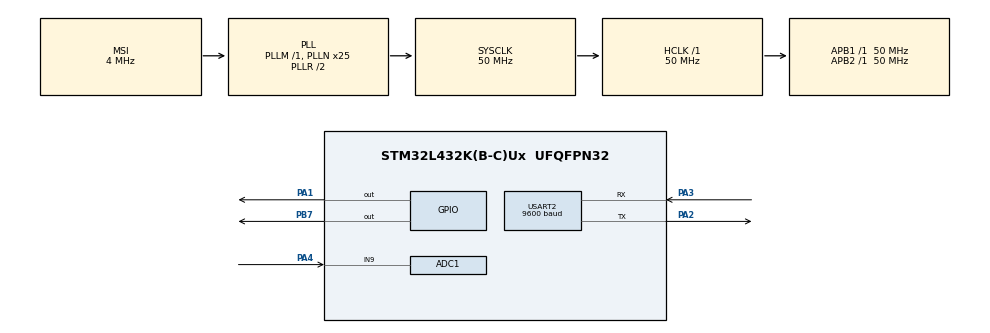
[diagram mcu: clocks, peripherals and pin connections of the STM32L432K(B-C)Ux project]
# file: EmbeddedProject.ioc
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ADC1.Channel-1\#ChannelRegularConversion=ADC_CHANNEL_9
ADC1.NbrOfConversionFlag=1
ADC1.OffsetNumber-1\#ChannelRegularConversion=ADC_OFFSET_NONE
ADC1.Rank-1\#ChannelRegularConversion=1
ADC1.SamplingTime-1\#ChannelRegularConversion=ADC_SAMPLETIME_2CYCLES_5
ADC1.master=1
Mcu.Family=STM32L4
Mcu.Name=STM32L432K(B-C)Ux
Mcu.Package=UFQFPN32
NVIC.ADC1_IRQn=true\:0\:0\:false\:false\:true\:true\:true
NVIC.PriorityGroup=NVIC_PRIORITYGROUP_4
NVIC.USART2_IRQn=true\:0\:0\:false\:false\:true\:true\:true
PA0.Mode=HSE-External-Clock-Source-for-LittleOrca
PA0.Signal=RCC_CK_IN
PA1.Signal=GPIO_Output
PA13\ (JTMS-SWDIO).Mode=Serial_Wire
PA13\ (JTMS-SWDIO).Signal=SYS_JTMS-SWDIO
PA14\ (JTCK-SWCLK).Mode=Serial_Wire
PA14\ (JTCK-SWCLK).Signal=SYS_JTCK-SWCLK
PA2.Mode=Asynchronous
PA2.Signal=USART2_TX
PA3.Mode=Asynchronous
PA3.Signal=USART2_RX
PA4.Signal=ADCx_IN9
PB7.Signal=GPIO_Output
PC14-OSC32_IN\ (PC14).Mode=LSE-External-Oscillator
PC14-OSC32_IN\ (PC14).Signal=RCC_OSC32_IN
PC15-OSC32_OUT\ (PC15).Mode=LSE-External-Oscillator
PC15-OSC32_OUT\ (PC15).Signal=RCC_OSC32_OUT
ProjectManager.HeapSize=0x200
ProjectManager.StackSize=0x400
ProjectManager.TargetToolchain=MDK-ARM V5.27
RCC.ADCFreq_Value=32000000
RCC.AHBFreq_Value=50000000
RCC.APB1Freq_Value=50000000
RCC.APB1TimFreq_Value=50000000
RCC.APB2Freq_Value=50000000
RCC.APB2TimFreq_Value=50000000
RCC.CortexFreq_Value=50000000
RCC.HCLKFreq_Value=50000000
RCC.HSE_VALUE=8000000
RCC.HSI48_VALUE=48000000
RCC.HSI_VALUE=16000000
RCC.MSI_VALUE=4000000
RCC.PLLN=25
RCC.PLLSAI1N=16
RCC.SYSCLKFreq_VALUE=50000000
RCC.SYSCLKSource=RCC_SYSCLKSOURCE_PLLCLK
RCC.USBFreq_Value=32000000
RCC.VCOOutputFreq_Value=100000000
SH.ADCx_IN9.0=ADC1_IN9,IN9-Single-Ended
TIM6.Period=0xFFFF-1
TIM6.Prescaler=50-1
USART2.BaudRate=9600
USART2.VirtualMode-Asynchronous=VM_ASYNC
VP_TIM6_VS_ClockSourceINT.Mode=Enable_Timer
board=custom

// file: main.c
/* USER CODE BEGIN Header */
/**
  ******************************************************************************
  * @file           : main.c
  * @brief          : Main program body
  ******************************************************************************
  * @attention
  *
  * <h2><center>&copy; Copyright (c) 2020 STMicroelectronics.
  * All rights reserved.</center></h2>
  *
  * This software component is licensed by ST under BSD 3-Clause license,
  * the "License"; You may not use this file except in compliance with the
  * License. You may obtain a copy of the License at:
  *                        opensource.org/licenses/BSD-3-Clause
  *
  ******************************************************************************
  */
/* USER CODE END Header */
#include "main.h"

/* USER CODE BEGIN Includes */
#include "stdio.h"
/* USER CODE END Includes */

ADC_HandleTypeDef hadc1;

TIM_HandleTypeDef htim6;

UART_HandleTypeDef huart2;

void SystemClock_Config(void);
static void MX_GPIO_Init(void);
static void MX_TIM6_Init(void);
static void MX_USART2_UART_Init(void);
static void MX_ADC1_Init(void);

/* USER CODE BEGIN 0 */

void delay (uint32_t us)
{
    __HAL_TIM_SET_COUNTER(&htim6,0);
    while ((__HAL_TIM_GET_COUNTER(&htim6))<us);
}

uint8_t R_Byte1, R_Byte2, Temp_Byte1,Temp_Byte2,Temp_Byte3,Temp_Byte4;
uint16_t SUM, RH, Temp;

float Temperature=0;
float humidity=0;
uint8_t presence=0;
uint8_t presence2=0;
void Set_Pin_Output(GPIO_TypeDef *GPIOx, uint16_t GPIO_Pin)
{
GPIO_InitTypeDef GPIO_InitStruct={0};
GPIO_InitStruct.Pin= GPIO_Pin;
GPIO_InitStruct.Mode= GPIO_MODE_OUTPUT_PP;
GPIO_InitStruct.Speed= GPIO_SPEED_FREQ_LOW;
HAL_GPIO_Init(GPIOx,&GPIO_InitStruct);
}

void Set_Pin_Input(GPIO_TypeDef *GPIOx, uint16_t GPIO_Pin)
{
GPIO_InitTypeDef GPIO_InitStruct={0};
GPIO_InitStruct.Pin= GPIO_Pin;
GPIO_InitStruct.Mode= GPIO_MODE_INPUT;
GPIO_InitStruct.Pull= GPIO_NOPULL;
HAL_GPIO_Init(GPIOx,&GPIO_InitStruct);
}

//DHT11
#define DHT11_PORT GPIOA
#define DHT11_PIN  GPIO_PIN_1

void DHT11_Start (void)
{
	Set_Pin_Output (DHT11_PORT, DHT11_PIN);  // set the pin as output
	HAL_GPIO_WritePin (DHT11_PORT, DHT11_PIN, 0);   // pull the pin low
	delay (18000);   // wait for 18ms
//	HAL_GPIO_WritePin(DHT11_PORT, DHT11_PIN, 1);
//	delay(20);
	Set_Pin_Input(DHT11_PORT, DHT11_PIN);    // set as input
}
void Display_Hum(float Hum1,int x)
{
	if(x==1)
	{
	char str[20]={0};
	sprintf(str," Temp:%.2f",Hum1);
	HAL_UART_Transmit(&huart2,(uint8_t *)str, sizeof(str), 10);
}
	if(x==2)
{
	char str[20]={0};
	sprintf(str,"Hum:%.2f",Hum1);
	HAL_UART_Transmit(&huart2,(uint8_t *)str, sizeof(str), 10);
}
	}
uint8_t DHT11_Check_Response (void)
{
	uint8_t Response = 0;
	delay (40);
	if (!(HAL_GPIO_ReadPin (DHT11_PORT, DHT11_PIN)))
	{
		delay (80);
		if ((HAL_GPIO_ReadPin (DHT11_PORT, DHT11_PIN))) Response = 1;
		else Response = -1;
	}
	while ((HAL_GPIO_ReadPin (DHT11_PORT, DHT11_PIN)));   // wait for the pin to go low

	return Response;
}

uint8_t DHT11_Read (void)
{
	uint8_t i,j;
	for (j=0;j<8;j++)
	{
		while (!(HAL_GPIO_ReadPin (DHT11_PORT, DHT11_PIN)));   // wait for the pin to go high
		delay (40);   // wait for 40 us
		if (!(HAL_GPIO_ReadPin (DHT11_PORT, DHT11_PIN)))   // if the pin is low
		{
			i&= ~(1<<(7-j));   // write 0
		}
		else i|= (1<<(7-j));  // if the pin is high, write 1
		while ((HAL_GPIO_ReadPin (DHT11_PORT, DHT11_PIN)));  // wait for the pin to go low
	}
	return i;
}

/****************************************DS18b20******************************************/

#define DS18B20_PORT GPIOA
#define DS18B20_PIN  GPIO_PIN_5

uint8_t DS18B20_Start (void)
{
	uint8_t Response = 0;
	Set_Pin_Output(DS18B20_PORT, DS18B20_PIN);   // set the pin as output
	HAL_GPIO_WritePin (DS18B20_PORT, DS18B20_PIN, 0);  // pull the pin low
	delay (480);   // delay according to datasheet

	Set_Pin_Input(DS18B20_PORT, DS18B20_PIN);    // set the pin as input
	delay (80);    // delay according to datasheet

	if (!(HAL_GPIO_ReadPin (DS18B20_PORT, DS18B20_PIN))) Response = 1;    // if the pin is low i.e the presence pulse is detected
	else Response = -1;

	delay (400); // 480 us delay totally.

	return Response;
}

void DS18B20_Write (uint8_t data)
{
	Set_Pin_Output(DS18B20_PORT, DS18B20_PIN);  // set as output

	for (int i=0; i<8; i++)
	{

		if ((data & (1<<i))!=0)  // if the bit is high
		{
			// write 1

			Set_Pin_Output(DS18B20_PORT, DS18B20_PIN);  // set as output
			HAL_GPIO_WritePin (DS18B20_PORT, DS18B20_PIN, 0);  // pull the pin LOW
			delay (1);  // wait for 1 us

			Set_Pin_Input(DS18B20_PORT, DS18B20_PIN);  // set as input
			delay (50);  // wait for 60 us
		}

		else  // if the bit is low
		{
			// write 0

			Set_Pin_Output(DS18B20_PORT, DS18B20_PIN);
			HAL_GPIO_WritePin (DS18B20_PORT, DS18B20_PIN, 0);  // pull the pin LOW
			delay (50);  // wait for 60 us

			Set_Pin_Input(DS18B20_PORT, DS18B20_PIN);
		}
	}
}

uint8_t DS18B20_read (void)
{
	uint8_t value=0;
	Set_Pin_Input(DS18B20_PORT, DS18B20_PIN);

	for (int i=0;i<8;i++)
	{
		Set_Pin_Output(DS18B20_PORT, DS18B20_PIN);   // set as output

		HAL_GPIO_WritePin (GPIOA, GPIO_PIN_1, 0);  // pull the data pin LOW
		delay (2);  // wait for 2 us

		Set_Pin_Input(DS18B20_PORT, DS18B20_PIN);  // set as input
		if (HAL_GPIO_ReadPin (GPIOA, GPIO_PIN_1))  // if the pin is HIGH
		{
			value |= 1<<i;  // read = 1
		}
		delay (60);  // wait for 60 us
	}
	return value;
}
void adc(){
	uint32_t readvalue;
	//int32_t c,p;
	char out[7];
	float limit=4095.0;
	readvalue = HAL_ADC_GetValue(&hadc1);

	char str[5]={" Soil:"};

	 int result;
	result=((limit-readvalue)/1900)*100;
	HAL_UART_Transmit(&huart2,(uint8_t *)str,7,100);
	sprintf(out,"%d\n\r",result);
	HAL_UART_Transmit(&huart2,(uint8_t *)out,7,100);

}
/* USER CODE END 0 */

int main(void)
{

  /* MCU Configuration--------------------------------------------------------*/

  /* Reset of all peripherals, Initializes the Flash interface and the Systick. */
  HAL_Init();

  /* Configure the system clock */
  SystemClock_Config();

  /* Initialize all configured peripherals */
  MX_GPIO_Init();
  MX_TIM6_Init();
  MX_USART2_UART_Init();
  MX_ADC1_Init();
  /* USER CODE BEGIN 2 */
HAL_TIM_Base_Start(&htim6);
HAL_Delay(100);
  /* USER CODE END 2 */

  /* Infinite loop */
  while (1)
  {

    /* USER CODE BEGIN 3 */
	///////////////////////////////////////////////Humidity////////////////////////
		Display_Hum(humidity,2);
		DHT11_Start();
		presence=DHT11_Check_Response();
		R_Byte1=DHT11_Read();
		R_Byte2=DHT11_Read();
		Temp_Byte1=DHT11_Read();
		Temp_Byte2=DHT11_Read();
		SUM=DHT11_Read();

		RH=R_Byte1;
		humidity=(float) RH;

//		///////////////////////////////////////////////Temperature////////////////////////
		presence2= DS18B20_Start ();
		HAL_Delay (1);
		DS18B20_Write (0xCC);  // skip ROM
		DS18B20_Write (0x44);  // convert t
		HAL_Delay (800);

		presence2 = DS18B20_Start ();
		HAL_Delay(1);
		DS18B20_Write (0xCC);  // skip ROM
		DS18B20_Write (0xBE);  // Read Scratch-pad

		Temp_Byte3 = DS18B20_read();
		Temp_Byte4 = DS18B20_read();

		Temp= (Temp_Byte4<<8)|Temp_Byte3;
		Temperature=(float)Temp/16;
		Display_Hum(Temperature,1);
//

///////////////////////////////////////////////Soil Moisture////////////////////////

  HAL_ADC_Start_IT(&hadc1);

  }
  /* USER CODE END 3 */
}

void SystemClock_Config(void)
{
  RCC_OscInitTypeDef RCC_OscInitStruct = {0};
  RCC_ClkInitTypeDef RCC_ClkInitStruct = {0};
  RCC_PeriphCLKInitTypeDef PeriphClkInit = {0};

  /** Configure LSE Drive Capability
  */
  HAL_PWR_EnableBkUpAccess();
  __HAL_RCC_LSEDRIVE_CONFIG(RCC_LSEDRIVE_LOW);
  /** Initializes the RCC Oscillators according to the specified parameters
  * in the RCC_OscInitTypeDef structure.
  */
  RCC_OscInitStruct.OscillatorType = RCC_OSCILLATORTYPE_LSE|RCC_OSCILLATORTYPE_MSI;
  RCC_OscInitStruct.LSEState = RCC_LSE_ON;
  RCC_OscInitStruct.MSIState = RCC_MSI_ON;
  RCC_OscInitStruct.MSICalibrationValue = 0;
  RCC_OscInitStruct.MSIClockRange = RCC_MSIRANGE_6;
  RCC_OscInitStruct.PLL.PLLState = RCC_PLL_ON;
  RCC_OscInitStruct.PLL.PLLSource = RCC_PLLSOURCE_MSI;
  RCC_OscInitStruct.PLL.PLLM = 1;
  RCC_OscInitStruct.PLL.PLLN = 25;
  RCC_OscInitStruct.PLL.PLLP = RCC_PLLP_DIV7;
  RCC_OscInitStruct.PLL.PLLQ = RCC_PLLQ_DIV2;
  RCC_OscInitStruct.PLL.PLLR = RCC_PLLR_DIV2;
  if (HAL_RCC_OscConfig(&RCC_OscInitStruct) != HAL_OK)
  {
    Error_Handler();
  }
  /** Initializes the CPU, AHB and APB buses clocks
  */
  RCC_ClkInitStruct.ClockType = RCC_CLOCKTYPE_HCLK|RCC_CLOCKTYPE_SYSCLK
                              |RCC_CLOCKTYPE_PCLK1|RCC_CLOCKTYPE_PCLK2;
  RCC_ClkInitStruct.SYSCLKSource = RCC_SYSCLKSOURCE_PLLCLK;
  RCC_ClkInitStruct.AHBCLKDivider = RCC_SYSCLK_DIV1;
  RCC_ClkInitStruct.APB1CLKDivider = RCC_HCLK_DIV1;
  RCC_ClkInitStruct.APB2CLKDivider = RCC_HCLK_DIV1;

  if (HAL_RCC_ClockConfig(&RCC_ClkInitStruct, FLASH_LATENCY_3) != HAL_OK)
  {
    Error_Handler();
  }
  PeriphClkInit.PeriphClockSelection = RCC_PERIPHCLK_USART2|RCC_PERIPHCLK_ADC;
  PeriphClkInit.Usart2ClockSelection = RCC_USART2CLKSOURCE_PCLK1;
  PeriphClkInit.AdcClockSelection = RCC_ADCCLKSOURCE_PLLSAI1;
  PeriphClkInit.PLLSAI1.PLLSAI1Source = RCC_PLLSOURCE_MSI;
  PeriphClkInit.PLLSAI1.PLLSAI1M = 1;
  PeriphClkInit.PLLSAI1.PLLSAI1N = 16;
  PeriphClkInit.PLLSAI1.PLLSAI1P = RCC_PLLP_DIV7;
  PeriphClkInit.PLLSAI1.PLLSAI1Q = RCC_PLLQ_DIV2;
  PeriphClkInit.PLLSAI1.PLLSAI1R = RCC_PLLR_DIV2;
  PeriphClkInit.PLLSAI1.PLLSAI1ClockOut = RCC_PLLSAI1_ADC1CLK;
  if (HAL_RCCEx_PeriphCLKConfig(&PeriphClkInit) != HAL_OK)
  {
    Error_Handler();
  }
  /** Configure the main internal regulator output voltage
  */
  if (HAL_PWREx_ControlVoltageScaling(PWR_REGULATOR_VOLTAGE_SCALE1) != HAL_OK)
  {
    Error_Handler();
  }
  /** Enable MSI Auto calibration
  */
  HAL_RCCEx_EnableMSIPLLMode();
}

static void MX_ADC1_Init(void)
{

  ADC_ChannelConfTypeDef sConfig = {0};

  /** Common config
  */
  hadc1.Instance = ADC1;
  hadc1.Init.ClockPrescaler = ADC_CLOCK_ASYNC_DIV1;
  hadc1.Init.Resolution = ADC_RESOLUTION_12B;
  hadc1.Init.DataAlign = ADC_DATAALIGN_RIGHT;
  hadc1.Init.ScanConvMode = ADC_SCAN_DISABLE;
  hadc1.Init.EOCSelection = ADC_EOC_SINGLE_CONV;
  hadc1.Init.LowPowerAutoWait = DISABLE;
  hadc1.Init.ContinuousConvMode = DISABLE;
  hadc1.Init.NbrOfConversion = 1;
  hadc1.Init.DiscontinuousConvMode = DISABLE;
  hadc1.Init.ExternalTrigConv = ADC_SOFTWARE_START;
  hadc1.Init.ExternalTrigConvEdge = ADC_EXTERNALTRIGCONVEDGE_NONE;
  hadc1.Init.DMAContinuousRequests = DISABLE;
  hadc1.Init.Overrun = ADC_OVR_DATA_PRESERVED;
  hadc1.Init.OversamplingMode = DISABLE;
  if (HAL_ADC_Init(&hadc1) != HAL_OK)
  {
    Error_Handler();
  }
  /** Configure Regular Channel
  */
  sConfig.Channel = ADC_CHANNEL_9;
  sConfig.Rank = ADC_REGULAR_RANK_1;
  sConfig.SamplingTime = ADC_SAMPLETIME_2CYCLES_5;
  sConfig.SingleDiff = ADC_SINGLE_ENDED;
  sConfig.OffsetNumber = ADC_OFFSET_NONE;
  sConfig.Offset = 0;
  if (HAL_ADC_ConfigChannel(&hadc1, &sConfig) != HAL_OK)
  {
    Error_Handler();
  }

}

static void MX_TIM6_Init(void)
{

  TIM_MasterConfigTypeDef sMasterConfig = {0};

  htim6.Instance = TIM6;
  htim6.Init.Prescaler = 50-1;
  htim6.Init.CounterMode = TIM_COUNTERMODE_UP;
  htim6.Init.Period = 0xFFFF-1;
  htim6.Init.AutoReloadPreload = TIM_AUTORELOAD_PRELOAD_DISABLE;
  if (HAL_TIM_Base_Init(&htim6) != HAL_OK)
  {
    Error_Handler();
  }
  sMasterConfig.MasterOutputTrigger = TIM_TRGO_RESET;
  sMasterConfig.MasterSlaveMode = TIM_MASTERSLAVEMODE_DISABLE;
  if (HAL_TIMEx_MasterConfigSynchronization(&htim6, &sMasterConfig) != HAL_OK)
  {
    Error_Handler();
  }

}

static void MX_USART2_UART_Init(void)
{

  huart2.Instance = USART2;
  huart2.Init.BaudRate = 9600;
  huart2.Init.WordLength = UART_WORDLENGTH_8B;
  huart2.Init.StopBits = UART_STOPBITS_1;
  huart2.Init.Parity = UART_PARITY_NONE;
  huart2.Init.Mode = UART_MODE_TX_RX;
  huart2.Init.HwFlowCtl = UART_HWCONTROL_NONE;
  huart2.Init.OverSampling = UART_OVERSAMPLING_16;
  huart2.Init.OneBitSampling = UART_ONE_BIT_SAMPLE_DISABLE;
  huart2.AdvancedInit.AdvFeatureInit = UART_ADVFEATURE_NO_INIT;
  if (HAL_UART_Init(&huart2) != HAL_OK)
  {
    Error_Handler();
  }

}

static void MX_GPIO_Init(void)
{
  GPIO_InitTypeDef GPIO_InitStruct = {0};

  /* GPIO Ports Clock Enable */
  __HAL_RCC_GPIOC_CLK_ENABLE();
  __HAL_RCC_GPIOA_CLK_ENABLE();

  /*Configure GPIO pin Output Level */
  HAL_GPIO_WritePin(GPIOA, GPIO_PIN_1, GPIO_PIN_RESET);

  /*Configure GPIO pin : PA1 */
  GPIO_InitStruct.Pin = GPIO_PIN_1;
  GPIO_InitStruct.Mode = GPIO_MODE_OUTPUT_PP;
  GPIO_InitStruct.Pull = GPIO_NOPULL;
  GPIO_InitStruct.Speed = GPIO_SPEED_FREQ_LOW;
  HAL_GPIO_Init(GPIOA, &GPIO_InitStruct);

}

void Error_Handler(void)
{
}

/************************ (C) COPYRIGHT STMicroelectronics *****END OF FILE****/
